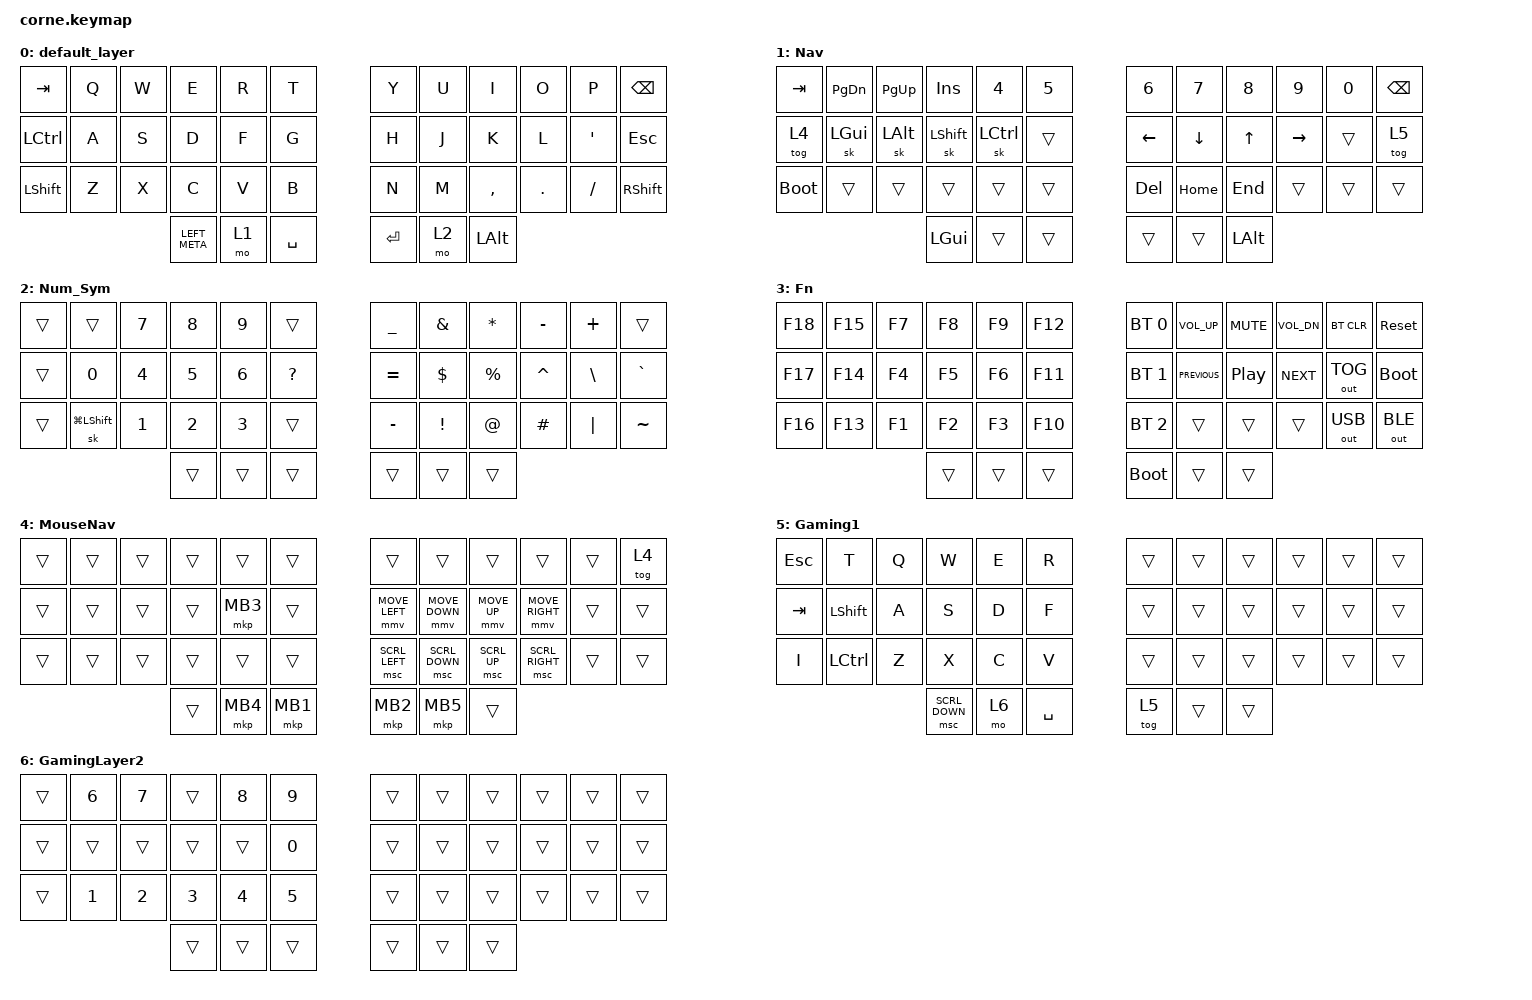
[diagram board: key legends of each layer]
/*
 * Copyright (c) 2020 The ZMK Contributors
 *
 * SPDX-License-Identifier: MIT
 */

#include <behaviors.dtsi>
#include <dt-bindings/zmk/bt.h>
#include <dt-bindings/zmk/keys.h>
#include <dt-bindings/zmk/outputs.h>
#include <dt-bindings/zmk/pointing.h>

/ {
    combos {
        compatible = "zmk,combos";

        semcol {
            bindings = <&kp SEMI>;
            key-positions = <32 33>;
            timeout-ms = <35>;
            layers = <0>;
        };

        cpslck {
            bindings = <&kp CAPSLOCK>;
            key-positions = <24 35>;
            timeout-ms = <35>;
            layers = <0>;
        };

        parentheses_left {
            bindings = <&kp LEFT_PARENTHESIS>;
            key-positions = <16 15>;
            timeout-ms = <35>;
            layers = <0>;
        };

        parentheses_right {
            bindings = <&kp RIGHT_PARENTHESIS>;
            key-positions = <19 20>;
            timeout-ms = <35>;
            layers = <0>;
        };

        bracket_left {
            bindings = <&kp LEFT_BRACKET>;
            key-positions = <3 4>;
            timeout-ms = <35>;
            layers = <0>;
        };

        bracket_right {
            bindings = <&kp RIGHT_BRACKET>;
            key-positions = <8 7>;
            timeout-ms = <35>;
            layers = <0>;
        };

        colon {
            bindings = <&kp COLON>;
            key-positions = <20 21>;
            timeout-ms = <35>;
            layers = <0>;
        };

        grave {
            bindings = <&kp GRAVE>;
            key-positions = <15 14>;
            timeout-ms = <35>;
            layers = <0>;
        };

        brace_left {
            bindings = <&kp LEFT_BRACE>;
            key-positions = <27 28>;
            timeout-ms = <35>;
            layers = <0>;
        };

        brace_right {
            bindings = <&kp RIGHT_BRACE>;
            key-positions = <31 32>;
            timeout-ms = <35>;
            layers = <0>;
        };

        less_than {
            bindings = <&kp LESS_THAN>;
            key-positions = <2 3>;
            timeout-ms = <35>;
            layers = <0>;
        };

        bigger_than {
            bindings = <&kp GREATER_THAN>;
            key-positions = <8 9>;
            timeout-ms = <35>;
            layers = <0>;
        };

        hyphen {
            bindings = <&kp MINUS>;
            key-positions = <28 31>;
            timeout-ms = <35>;
            layers = <0>;
        };

        plus {
            bindings = <&kp PLUS>;
            key-positions = <4 7>;
            timeout-ms = <35>;
            layers = <0>;
        };

        equal {
            bindings = <&kp EQUAL>;
            key-positions = <16 19>;
            timeout-ms = <35>;
            layers = <0>;
        };

        Pipe {
            bindings = <&kp PIPE>;
            key-positions = <27 26>;
            timeout-ms = <35>;
            layers = <0>;
        };

        astrsk {
            bindings = <&kp ASTERISK>;
            key-positions = <3 8>;
            timeout-ms = <35>;
            layers = <0>;
        };

        dollar {
            bindings = <&kp DOLLAR>;
            key-positions = <15 20>;
            timeout-ms = <35>;
            layers = <0>;
        };

        excl {
            bindings = <&kp EXCL>;
            key-positions = <27 32>;
            timeout-ms = <35>;
            layers = <0>;
        };

        ampersand {
            bindings = <&kp AMPERSAND>;
            key-positions = <17 18>;
            timeout-ms = <35>;
            layers = <0>;
        };

        underscore {
            bindings = <&kp UNDERSCORE>;
            key-positions = <29 30>;
            timeout-ms = <35>;
            layers = <0>;
        };

        backslash {
            bindings = <&kp BACKSLASH>;
            key-positions = <21 22>;
            timeout-ms = <35>;
            layers = <0>;
        };

        tilde {
            bindings = <&kp TILDE>;
            key-positions = <14 13>;
            timeout-ms = <35>;
            layers = <0>;
        };
    };

    behaviors {
        hml: hml {
            compatible = "zmk,behavior-hold-tap";
            label = "HML";
            bindings = <&kp>, <&kp>;

            #binding-cells = <2>;
            tapping-term-ms = <280>;
            quick-tap-ms = <175>;
            flavor = "balanced";
            hold-trigger-on-release;
            hold-trigger-key-positions = <6 7 8 9 10 11 18 19 20 21 22 23 30 31 32 33 34 35 38 39 40 41 37 36>;
            require-prior-idle-ms = <150>;
        };

        hmr: hmr {
            compatible = "zmk,behavior-hold-tap";
            label = "HMR";
            bindings = <&kp>, <&kp>;

            #binding-cells = <2>;
            tapping-term-ms = <280>;
            quick-tap-ms = <175>;
            hold-trigger-on-release;
            hold-trigger-key-positions = <0 1 2 3 4 5 12 13 14 15 16 17 24 25 26 27 28 29 36 37 38 39 40 41>;
            flavor = "balanced";
            require-prior-idle-ms = <150>;
        };

        lrt: lrt {
            compatible = "zmk,behavior-hold-tap";
            label = "LRT";
            bindings = <&mo>, <&kp>;

            #binding-cells = <2>;
            tapping-term-ms = <150>;
            flavor = "tap-preferred";
        };
    };

    keymap {
        compatible = "zmk,keymap";

        default_layer {
            // -----------------------------------------------------------------------------------------
            // |  TAB |  Q  |  W  |  E  |  R  |  T  |   |  Y  |  U   |  I  |  O  |  P  | BSPC |
            // | CTRL |  A  |  S  |  D  |  F  |  G  |   |  H  |  J   |  K  |  L  |  ;  |  '   |
            // | SHFT |  Z  |  X  |  C  |  V  |  B  |   |  N  |  M   |  ,  |  .  |  /  | ESC  |
            //                    | GUI | LWR | SPC |   | ENT | RSE  | ALT |

            bindings = <
&kp TAB         &kp Q  &kp W  &kp E          &kp R  &kp T        &kp Y      &kp U  &kp I         &kp O    &kp P     &kp BSPC
&kp LCTRL       &kp A  &kp S  &kp D          &kp F  &kp G        &kp H      &kp J  &kp K         &kp L    &kp SQT   &kp ESC
&kp LEFT_SHIFT  &kp Z  &kp X  &kp C          &kp V  &kp B        &kp N      &kp M  &kp COMMA     &kp DOT  &kp FSLH  &kp RIGHT_SHIFT
                              &kp LEFT_META  &mo 1  &kp SPACE    &kp ENTER  &mo 2  &kp LEFT_ALT
            >;
        };

        Nav {
            // -----------------------------------------------------------------------------------------
            // |  TAB |  1  |  2  |  3  |  4  |  5  |   |  6  |  7  |  8  |  9  |  0  | BSPC |
            // | BTCLR| BT1 | BT2 | BT3 | BT4 | BT5 |   | LFT | DWN |  UP | RGT |     |      |
            // | SHFT |     |     |     |     |     |   |     |     |     |     |     |      |
            //                    | GUI |     | SPC |   | ENT |     | ALT |

            bindings = <
&kp TAB      &kp PG_DN     &kp PG_UP     &kp INS         &kp N4     &kp N5    &kp N6    &kp N7    &kp N8        &kp N9     &kp N0  &kp BSPC
&tog 4       &sk LEFT_GUI  &sk LEFT_ALT  &sk LEFT_SHIFT  &sk LCTRL  &trans    &kp LEFT  &kp DOWN  &kp UP        &kp RIGHT  &trans  &tog 5
&bootloader  &trans        &trans        &trans          &trans     &trans    &kp DEL   &kp HOME  &kp END       &trans     &trans  &trans
                                         &kp LGUI        &trans     &trans    &trans    &trans    &kp LEFT_ALT
            >;
        };

        Num_Sym {
            bindings = <
&trans  &trans              &kp N7        &kp N8        &kp N9        &trans          &kp UNDERSCORE  &kp AMPS  &kp STAR   &kp MINUS  &kp PLUS       &trans
&trans  &kp N0              &kp NUMBER_4  &kp N5        &kp NUMBER_6  &kp QUESTION    &kp EQUAL       &kp DLLR  &kp PRCNT  &kp CARET  &kp BACKSLASH  &kp GRAVE
&trans  &sk LG(LEFT_SHIFT)  &kp NUMBER_1  &kp NUMBER_2  &kp NUMBER_3  &trans          &kp MINUS       &kp EXCL  &kp AT     &kp HASH   &kp PIPE       &kp TILDE
                                          &trans        &trans        &trans          &trans          &trans    &trans
            >;
        };

        Fn {
            bindings = <
&kp F18  &kp F15  &kp F7  &kp F8  &kp F9  &kp F12    &bt BT_SEL 0  &kp C_VOLUME_UP  &kp C_MUTE        &kp C_VOL_DN  &bt BT_CLR    &sys_reset
&kp F17  &kp F14  &kp F4  &kp F5  &kp F6  &kp F11    &bt BT_SEL 1  &kp C_PREVIOUS   &kp C_PLAY_PAUSE  &kp C_NEXT    &out OUT_TOG  &bootloader
&kp F16  &kp F13  &kp F1  &kp F2  &kp F3  &kp F10    &bt BT_SEL 2  &trans           &trans            &trans        &out OUT_USB  &out OUT_BLE
                          &trans  &trans  &trans     &bootloader   &trans           &trans
            >;
        };

        MouseNav {
            bindings = <
&trans  &trans  &trans  &trans  &trans    &trans      &trans          &trans          &trans        &trans           &trans  &tog 4
&trans  &trans  &trans  &trans  &mkp MB3  &trans      &mmv MOVE_LEFT  &mmv MOVE_DOWN  &mmv MOVE_UP  &mmv MOVE_RIGHT  &trans  &trans
&trans  &trans  &trans  &trans  &trans    &trans      &msc SCRL_LEFT  &msc SCRL_DOWN  &msc SCRL_UP  &msc SCRL_RIGHT  &trans  &trans
                        &trans  &mkp MB4  &mkp MB1    &mkp MB2        &mkp MB5        &trans
            >;
        };

        Gaming1 {
            bindings = <
&kp ESCAPE  &kp T           &kp Q  &kp W           &kp E  &kp R        &trans  &trans  &trans  &trans  &trans  &trans
&kp TAB     &kp LEFT_SHIFT  &kp A  &kp S           &kp D  &kp F        &trans  &trans  &trans  &trans  &trans  &trans
&kp I       &kp LCTRL       &kp Z  &kp X           &kp C  &kp V        &trans  &trans  &trans  &trans  &trans  &trans
                                   &msc SCRL_DOWN  &mo 6  &kp SPACE    &tog 5  &trans  &trans
            >;
        };

        GamingLayer2 {
            bindings = <
&trans  &kp NUMBER_6  &kp N7        &trans        &kp N8        &kp N9    &trans  &trans  &trans  &trans  &trans  &trans
&trans  &trans        &trans        &trans        &trans        &kp N0    &trans  &trans  &trans  &trans  &trans  &trans
&trans  &kp NUMBER_1  &kp NUMBER_2  &kp NUMBER_3  &kp NUMBER_4  &kp N5    &trans  &trans  &trans  &trans  &trans  &trans
                                    &trans        &trans        &trans    &trans  &trans  &trans
            >;
        };
    };

    conditional_layers {
        compatible = "zmk,conditional-layers";

        func_layer {
            if-layers = <1 2>;
            then-layer = <3>;
        };
    };
};
